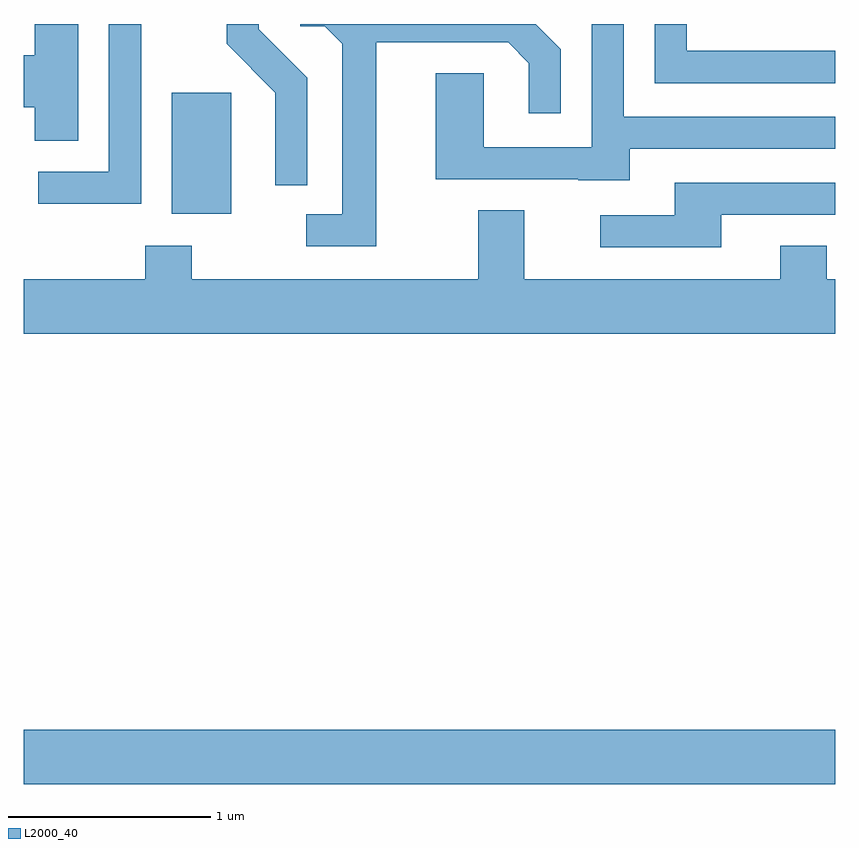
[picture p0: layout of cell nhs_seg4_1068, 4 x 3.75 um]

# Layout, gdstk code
import gdstk
lib = gdstk.Library(unit=1e-6, precision=1e-09)
def R(c, l, rs):  # rectangles x0, y0, x1, y1
    for r in rs: c.add(gdstk.rectangle(r[:2], r[2:], *l))
def P(c, l, *ps):  # polygons
    for p in ps: c.add(gdstk.Polygon(p, *l))
L2000_40 = (2000, 40)

nhs_seg4_1068 = lib.new_cell('nhs_seg4_1068')
R(nhs_seg4_1068, L2000_40, [(215.611,1350.236,219.611,1350.504), (216.341,1353.046,216.634,1353.644)])
P(nhs_seg4_1068, L2000_40, [(218.599,1353.366),(219.611,1353.366),(219.611,1353.524),(218.569,1353.524),(218.569,1353.982),(218.411,1353.982),(218.411,1353.374),(217.879,1353.374),(217.879,1353.739),(217.641,1353.739),(217.641,1353.216),(218.345,1353.216),(218.345,1353.211),(218.599,1353.211)],
  [(215.879,1353.982),(215.666,1353.982),(215.666,1353.829),(215.611,1353.829),(215.611,1353.571),(215.666,1353.571),(215.666,1353.406),(215.879,1353.406)],
  [(217.349,1353.891),(217.999,1353.891),(218.101,1353.789),(218.101,1353.543),(218.259,1353.543),(218.259,1353.857),(218.134,1353.982),(216.973,1353.982),(216.973,1353.971),(217.094,1353.971),(217.181,1353.884),(217.181,1353.044),(217.003,1353.044),(217.003,1352.886),(217.349,1352.886)],
  [(216.189,1353.982),(216.031,1353.982),(216.031,1353.254),(215.683,1353.254),(215.683,1353.096),(216.189,1353.096)],
  [(217.009,1353.717),(216.769,1353.957),(216.769,1353.982),(216.611,1353.982),(216.611,1353.884),(216.851,1353.644),(216.851,1353.188),(217.009,1353.188)],
  [(219.611,1353.849),(218.879,1353.849),(218.879,1353.982),(218.721,1353.982),(218.721,1353.691),(219.611,1353.691)],
  [(219.049,1353.041),(219.611,1353.041),(219.611,1353.199),(218.821,1353.199),(218.821,1353.039),(218.453,1353.039),(218.453,1352.881),(219.049,1352.881)],
  [(219.611,1352.724),(219.569,1352.724),(219.569,1352.889),(219.341,1352.889),(219.341,1352.724),(218.079,1352.724),(218.079,1353.064),(217.851,1353.064),(217.851,1352.724),(216.439,1352.724),(216.439,1352.889),(216.211,1352.889),(216.211,1352.724),(215.611,1352.724),(215.611,1352.456),(219.611,1352.456)])

lib.write_gds('nhs_seg4_1068.gds')
